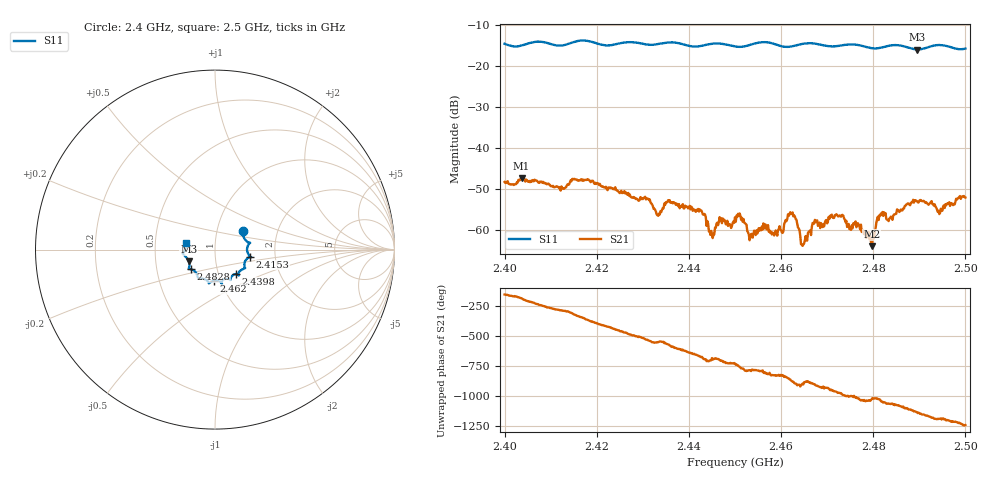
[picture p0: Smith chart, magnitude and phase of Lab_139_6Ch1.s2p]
# Hz S RI R 50
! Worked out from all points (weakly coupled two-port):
!   601 points, 2.4 GHz to 2.5 GHz, reference 50 ohm
!   highest |S21| = -47.32 dB at 2.4037 GHz (marker M1); lowest = -64.0 dB at 2.4797 GHz (marker M2)
!   lowest |S11| = -15.9 dB at 2.4895 GHz (marker M3), VSWR 1.38, Z = 37 - j5 ohm
!   |S11| at or under -10 dB: start of sweep to end of sweep
!   S12 and S22 are empty: the file has one direction only
!   S11 on the Smith chart (normalised r, x): 2.4 GHz: 1.33, +0.29; 2.4153 GHz: 1.48, -0.12; 2.4398 GHz: 1.21, -0.34; 2.462 GHz: 0.93, -0.33; 2.4828 GHz: 0.74, -0.17; 2.5 GHz: 0.72, +0.06
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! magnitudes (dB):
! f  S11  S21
! 2.4 GHz  -14.5  -48.3
! 2.4037 GHz  -14.9  -47.3
! 2.4153 GHz  -14.0  -47.7
! 2.4167 GHz  -13.7  -47.6
! 2.4333 GHz  -14.6  -56.6
! 2.4398 GHz  -15.0  -54.8
! 2.443 GHz  -15.0  -56.2
! 2.445 GHz  -14.5  -61.2
! 2.45 GHz  -15.1  -56.9
! 2.4533 GHz  -14.8  -61.8
! 2.4587 GHz  -14.6  -60.9
! 2.462 GHz  -15.2  -55.7
! 2.4647 GHz  -14.5  -63.9
! 2.4667 GHz  -14.4  -59.4
! 2.473 GHz  -14.9  -56.8
! 2.4797 GHz  -15.6  -64.0
! 2.4812 GHz  -15.6  -57.6
! 2.4828 GHz  -15.2  -57.4
! 2.4833 GHz  -15.0  -57.9
! 2.4895 GHz  -15.9  -53.0
! 2.4945 GHz  -14.8  -55.9
! 2.5 GHz  -15.7  -52.1
